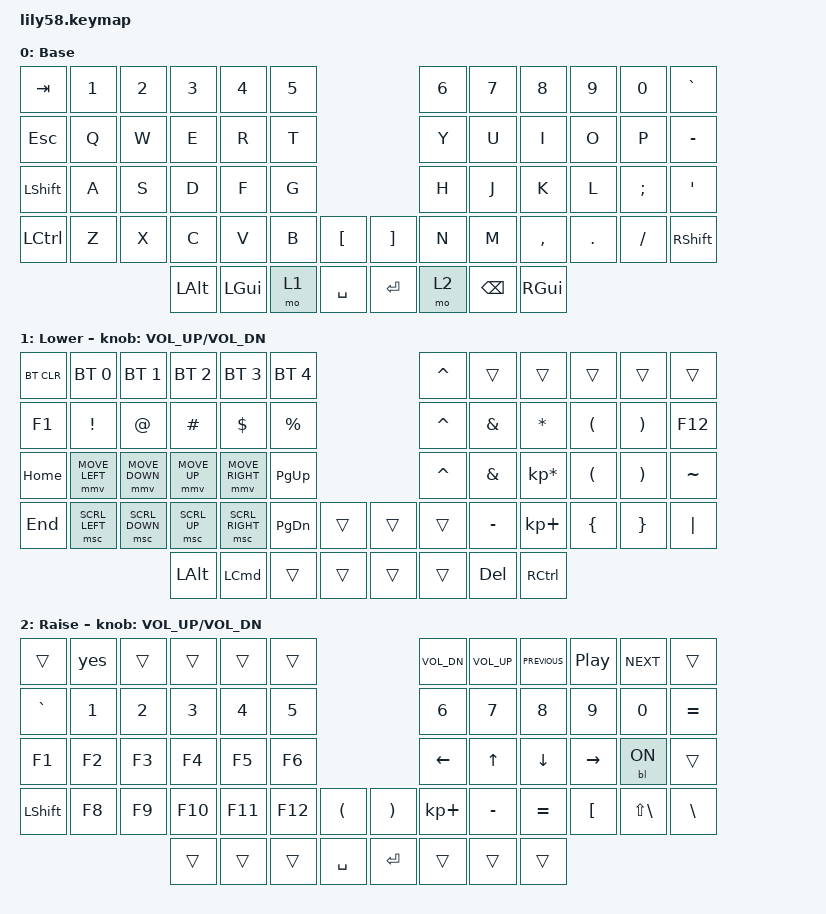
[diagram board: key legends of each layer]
/*
 * Copyright (c) 2020 The ZMK Contributors
 *
 * SPDX-License-Identifier: MIT
 */

#include <behaviors.dtsi>
#include <dt-bindings/zmk/backlight.h>
#include <dt-bindings/zmk/bt.h>
#include <dt-bindings/zmk/keys.h>
#include <dt-bindings/zmk/pointing.h>

/ {
    macros {
        yes: yes {
            compatible = "zmk,behavior-macro";
            #binding-cells = <0>;
            bindings = <&kp Y &kp E &kp S &kp ENTER>;
            label = "YES";
        };
    };

    keymap {
        compatible = "zmk,keymap";

        default_layer {
            // ------------------------------------------------------------------------------------------------------------
            // |  ESC  |  1  |  2  |  3   |  4   |  5   |                   |  6   |  7    |  8    |  9   |   0   |   `   |
            // |  TAB  |  Q  |  W  |  E   |  R   |  T   |                   |  Y   |  U    |  I    |  O   |   P   |   -   |
            // |  CTRL |  A  |  S  |  D   |  F   |  G   |                   |  H   |  J    |  K    |  L   |   ;   |   '   |
            // | SHIFT |  Z  |  X  |  C   |  V   |  B   |   "["  |  |  "]"  |  N   |  M    |  ,    |  .   |   /   | SHIFT |
            //                     | ALT  | GUI  | LOWER|  SPACE |  | ENTER | RAISE| BSPC  | GUI   |

            display-name = "Base";
            bindings = <
&kp TAB           &kp N1  &kp N2  &kp N3    &kp N4    &kp N5                         &kp N6  &kp N7    &kp N8     &kp N9   &kp N0    &kp GRAVE
&kp ESCAPE        &kp Q   &kp W   &kp E     &kp R     &kp T                          &kp Y   &kp U     &kp I      &kp O    &kp P     &kp MINUS
&kp LEFT_SHIFT    &kp A   &kp S   &kp D     &kp F     &kp G                          &kp H   &kp J     &kp K      &kp L    &kp SEMI  &kp SQT
&kp LEFT_CONTROL  &kp Z   &kp X   &kp C     &kp V     &kp B   &kp LBKT     &kp RBKT  &kp N   &kp M     &kp COMMA  &kp DOT  &kp FSLH  &kp RSHFT
                                  &kp LALT  &kp LGUI  &mo 1   &kp SPACE    &kp RET   &mo 2   &kp BSPC  &kp RGUI
            >;
        };

        lower_layer {
            // ------------------------------------------------------------------------------------------------------------
            // | BTCLR | BT1 | BT2 |  BT3 |  BT4 |  BT5 |                   |      |       |       |      |       |       |
            // |  F1   |  F2 |  F3 |  F4  |  F5  |  F6  |                   |  F7  |  F8   |  F9   |  F10 |  F11  |  F12  |
            // |   `   |  !  |  @  |  #   |  $   |  %   |                   |  ^   |  &    |  *    |  (   |   )   |   ~   |
            // |       |     |     |      |      |      |        |  |       |      |  _    |  +    |  {   |   }   |  "|"  |
            //                     |      |      |      |        |  |       |      |       |       |

            display-name = "Lower";
            bindings = <
&bt BT_CLR  &bt BT_SEL 0     &bt BT_SEL 1    &bt BT_SEL 2  &bt BT_SEL 3      &bt BT_SEL 4                     &kp CARET  &trans         &trans             &trans                &trans                 &trans
&kp F1      &kp EXCLAMATION  &kp AT_SIGN     &kp HASH      &kp DOLLAR        &kp PERCENT                      &kp CARET  &kp AMPERSAND  &kp ASTERISK       &kp LEFT_PARENTHESIS  &kp RIGHT_PARENTHESIS  &kp F12
&kp HOME    &mmv MOVE_LEFT   &mmv MOVE_DOWN  &mmv MOVE_UP  &mmv MOVE_RIGHT   &kp PAGE_UP                      &kp CARET  &kp AMPS       &kp KP_MULTIPLY    &kp LPAR              &kp RPAR               &kp TILDE
&kp END     &msc SCRL_LEFT   &msc SCRL_DOWN  &msc SCRL_UP  &msc SCRL_RIGHT   &kp PAGE_DOWN  &trans    &trans  &trans     &kp MINUS      &kp KP_PLUS        &kp LBRC              &kp RBRC               &kp PIPE
                                             &kp LEFT_ALT  &kp LEFT_COMMAND  &trans         &trans    &trans  &trans     &kp DEL        &kp RIGHT_CONTROL
            >;

            sensor-bindings = <&inc_dec_kp C_VOL_UP C_VOL_DN>;
        };

        raise_layer {
            // ------------------------------------------------------------------------------------------------------------
            // |       |     |     |      |      |      |                   |      |       |       |      |       |       |
            // |   `   |  1  |  2  |  3   |  4   |  5   |                   |  6   |   7   |   8   |  9   |   0   |       |
            // |   F1  |  F2 |  F3 |  F4  |  F5  |  F6  |                   |      |   <-  |   v   |  ^   |  ->   |       |
            // |   F7  |  F8 |  F9 |  F10 |  F11 |  F12 |        |  |       |  +   |   -   |   =   |  [   |   ]   |   \   |
            //                     |      |      |      |        |  |       |      |       |       |

            display-name = "Raise";
            bindings = <
&trans          &yes    &trans  &trans   &trans   &trans                                                  &kp C_VOL_DN    &kp C_VOLUME_UP  &kp C_PREVIOUS  &kp C_PLAY_PAUSE  &kp C_NEXT         &trans
&kp GRAVE       &kp N1  &kp N2  &kp N3   &kp N4   &kp N5                                                  &kp N6          &kp N7           &kp N8          &kp N9            &kp N0             &kp EQUAL
&kp F1          &kp F2  &kp F3  &kp F4   &kp F5   &kp F6                                                  &kp LEFT_ARROW  &kp UP_ARROW     &kp DOWN        &kp RIGHT_ARROW   &bl BL_ON          &trans
&kp LEFT_SHIFT  &kp F8  &kp F9  &kp F10  &kp F11  &kp F12  &kp LEFT_PARENTHESIS    &kp RIGHT_PARENTHESIS  &kp KP_PLUS     &kp MINUS        &kp EQUAL       &kp LBKT          &kp LS(BACKSLASH)  &kp BSLH
                                &trans   &trans   &trans   &kp SPACE               &kp ENTER              &trans          &trans           &trans
            >;

            sensor-bindings = <&inc_dec_kp C_VOL_UP C_VOL_DN>;
        };

        extra_1 { status = "reserved"; };

        extra_2 { status = "reserved"; };

        extra_3 { status = "reserved"; };
    };
};
